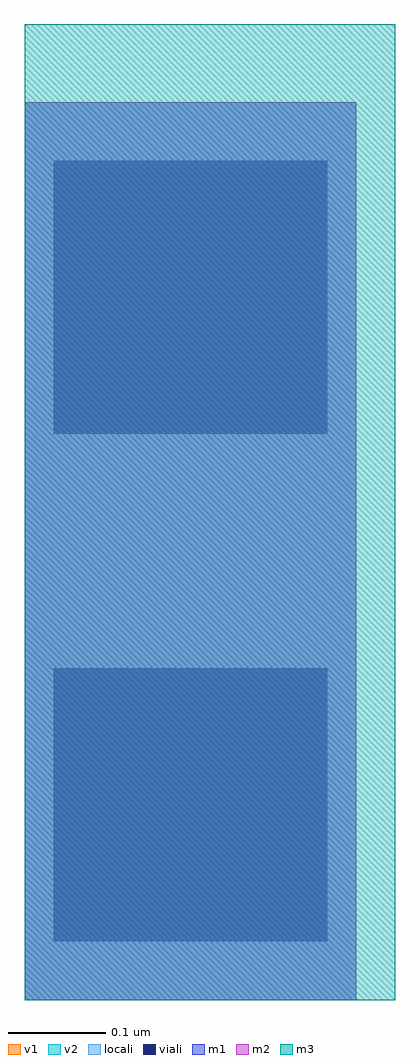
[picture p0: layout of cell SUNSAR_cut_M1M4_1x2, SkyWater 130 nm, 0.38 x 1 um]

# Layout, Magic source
magic
tech sky130A
magscale 1 1
<< locali >>
rect 0 0 34 92
<< viali >>
rect 3 6 31 34
rect 3 58 31 86
<< m1 >>
rect 0 0 34 92
<< v1 >>
rect 3 6 31 34
rect 3 58 31 86
<< m2 >>
rect 0 0 34 92
<< v2 >>
rect 3 6 31 34
rect 3 58 31 86
<< m3 >>
rect 0 0 38 100
<< labels >>
<< properties >>
string FIXED_BBOX 0 0 38 100
<< end >>
